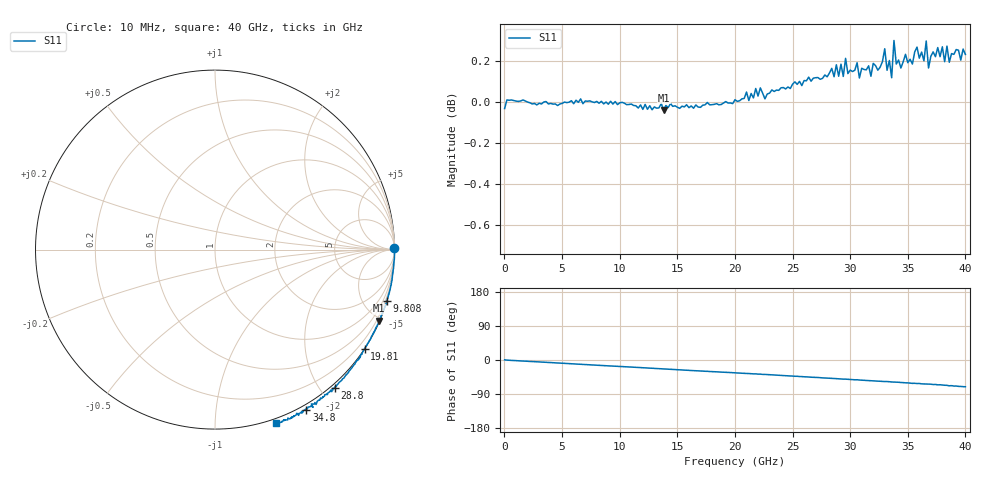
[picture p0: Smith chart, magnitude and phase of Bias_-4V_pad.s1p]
!Agilent Technologies,N5227A,US51270434,A.10.00.00
!Agilent N5227A: A.10.00.00
!Date: Wednesday, April 01, 2026 16:43:31
!Correction: S11(Full 1 Port(1))
!S1P File: Measurement: S11:
# Hz S  dB  R 50
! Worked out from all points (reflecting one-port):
!   201 points, 10 MHz to 40 GHz, reference 50 ohm
!   lowest |S11| = 0.0 dB at 13.81 GHz (marker M1), VSWR 448.11, Z = 2.69 - j241 ohm
!   phase of S11 starts at 1 deg and turns -71 deg over the sweep
!   S11 on the Smith chart (normalised r, x): 10 MHz: open; 9.808 GHz: 0.03, -6.82; 19.81 GHz: 0.01, -3.32; 28.8 GHz: -0.06, -2.18; 34.8 GHz: -0.05, -1.72; 40 GHz: -0.04, -1.41
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1e7  -0.03 0.5
6.0985e8  0.01 -1.1
5.00875e9  -0.01 -8.5
9.80755e9  -0.01 -16.7
1.00075e10  -0.00 -17.1
1.380655e10  -0.04 -23.5
1.500625e10  -0.03 -25.6
1.980505e10  -0.01 -33.5
2.0005e10  0.01 -33.9
2.500375e10  0.09 -42.4
2.88028e10  0.18 -49.2
3.00025e10  0.16 -51.2
3.24019e10  0.15 -55.5
3.300175e10  0.26 -56.9
3.36016e10  0.12 -58.0
3.380155e10  0.30 -58.1
3.40015e10  0.18 -58.5
3.48013e10  0.23 -60.2
3.500125e10  0.19 -60.4
3.540115e10  0.18 -61.6
3.660085e10  0.30 -63.2
3.68008e10  0.17 -63.5
3.740065e10  0.22 -64.5
3.84004e10  0.27 -66.9
3.860035e10  0.19 -68.1
3.88003e10  0.24 -67.7
3.900025e10  0.23 -68.8
4e10  0.23 -70.5
